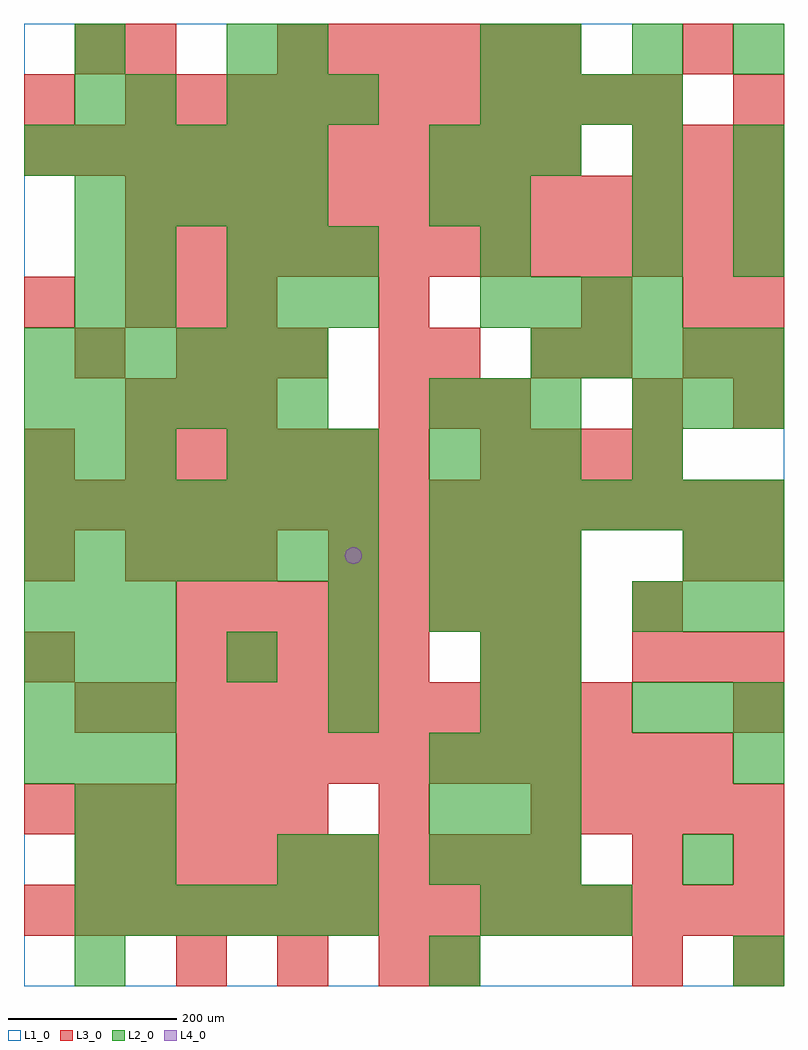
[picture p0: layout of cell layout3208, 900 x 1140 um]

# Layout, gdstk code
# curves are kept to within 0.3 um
import gdstk
lib = gdstk.Library(unit=1e-6, precision=1e-09)
def R(c, l, rs):  # rectangles x0, y0, x1, y1
    for r in rs: c.add(gdstk.rectangle(r[:2], r[2:], *l))
def A(c, l, x, y, w, h, nx, ny, dx, dy):  # array of equal rectangles
    R(c, l, [(x+i*dx, y+j*dy, x+i*dx+w, y+j*dy+h) for i in range(nx) for j in range(ny)])
def P(c, l, *ps):  # polygons
    for p in ps: c.add(gdstk.Polygon(p, *l))
L1_0 = (1, 0)
L2_0 = (2, 0)
L3_0 = (3, 0)
L4_0 = (4, 0)

layout3208 = lib.new_cell('layout3208')
R(layout3208, L1_0, [(0,0,900,1140)])
A(layout3208, L2_0, 840, 0, 60, 60, 1, 3, 0, 240)
A(layout3208, L2_0, 60, 60, 60, 60, 6, 1, 60, 0)
A(layout3208, L2_0, 540, 60, 60, 60, 3, 1, 60, 0)
A(layout3208, L2_0, 480, 120, 60, 60, 3, 3, 60, 60)
A(layout3208, L2_0, 0, 240, 60, 60, 3, 4, 60, 60)
A(layout3208, L2_0, 360, 300, 60, 60, 1, 3, 0, 60)
A(layout3208, L2_0, 720, 300, 60, 60, 3, 2, 60, 120)
A(layout3208, L2_0, 480, 420, 60, 60, 3, 2, 60, 60)
A(layout3208, L2_0, 0, 480, 60, 60, 7, 2, 60, 60)
A(layout3208, L2_0, 480, 540, 60, 60, 7, 1, 60, 0)
A(layout3208, L2_0, 0, 600, 60, 60, 3, 1, 60, 0)
A(layout3208, L2_0, 240, 600, 60, 60, 3, 2, 60, 180)
A(layout3208, L2_0, 480, 600, 60, 60, 3, 2, 60, 60)
A(layout3208, L2_0, 0, 660, 60, 60, 6, 2, 60, 60)
A(layout3208, L2_0, 720, 660, 60, 60, 3, 1, 60, 0)
A(layout3208, L2_0, 600, 720, 60, 60, 5, 1, 60, 0)
A(layout3208, L2_0, 540, 780, 60, 60, 4, 2, 60, 240)
A(layout3208, L2_0, 240, 840, 60, 60, 3, 2, 60, 180)
A(layout3208, L2_0, 720, 840, 60, 60, 1, 3, 0, 60)
A(layout3208, L2_0, 840, 840, 60, 60, 1, 3, 0, 60)
A(layout3208, L2_0, 60, 900, 60, 60, 5, 1, 60, 0)
A(layout3208, L2_0, 0, 960, 60, 60, 6, 1, 60, 0)
A(layout3208, L2_0, 480, 960, 60, 60, 3, 1, 60, 0)
A(layout3208, L2_0, 600, 1080, 60, 60, 3, 1, 120, 0)
R(layout3208, L2_0, [(60,0,120,60), (480,0,540,60), (60,120,120,180), (120,120,180,180), (300,120,360,180), (360,120,420,180), (780,120,840,180), (60,180,120,240), (120,180,180,240), (540,300,600,360), (600,300,660,360), (240,360,300,420), (540,360,600,420), (600,360,660,420), (780,480,840,540), (720,600,780,660), (60,780,120,840), (120,780,180,840), (60,840,120,900), (120,840,180,900), (540,840,600,900), (480,900,540,960), (540,900,600,960), (60,1020,120,1080), (120,1020,180,1080), (60,1080,120,1140), (240,1080,300,1140), (300,1080,360,1140), (540,1080,600,1140)])
A(layout3208, L3_0, 180, 0, 60, 60, 3, 1, 120, 0)
A(layout3208, L3_0, 0, 60, 60, 60, 15, 2, 60, 480)
A(layout3208, L3_0, 60, 120, 60, 60, 10, 1, 60, 0)
A(layout3208, L3_0, 840, 120, 60, 60, 1, 4, 0, 180)
A(layout3208, L3_0, 0, 180, 60, 60, 6, 1, 60, 0)
A(layout3208, L3_0, 600, 180, 60, 60, 5, 1, 60, 0)
A(layout3208, L3_0, 180, 240, 60, 60, 11, 1, 60, 0)
A(layout3208, L3_0, 60, 300, 60, 60, 11, 1, 60, 0)
A(layout3208, L3_0, 0, 360, 60, 60, 1, 3, 0, 120)
A(layout3208, L3_0, 180, 360, 60, 60, 5, 1, 60, 0)
A(layout3208, L3_0, 720, 360, 60, 60, 3, 2, 60, 600)
A(layout3208, L3_0, 180, 420, 60, 60, 8, 1, 60, 0)
A(layout3208, L3_0, 120, 480, 60, 60, 3, 2, 60, 180)
A(layout3208, L3_0, 360, 480, 60, 60, 5, 1, 60, 0)
A(layout3208, L3_0, 120, 600, 60, 60, 6, 1, 60, 0)
A(layout3208, L3_0, 540, 600, 60, 60, 4, 1, 60, 0)
A(layout3208, L3_0, 420, 660, 60, 60, 3, 1, 60, 0)
A(layout3208, L3_0, 180, 720, 60, 60, 3, 1, 60, 0)
A(layout3208, L3_0, 120, 780, 60, 60, 3, 1, 60, 0)
A(layout3208, L3_0, 120, 840, 60, 60, 13, 2, 60, 60)
A(layout3208, L3_0, 0, 960, 60, 60, 11, 1, 60, 0)
A(layout3208, L3_0, 120, 1020, 60, 60, 11, 1, 60, 0)
A(layout3208, L3_0, 300, 1080, 60, 60, 6, 1, 60, 0)
R(layout3208, L3_0, [(480,0,540,60), (720,0,780,60), (840,0,900,60), (720,120,780,180), (420,180,480,240), (540,360,600,420), (600,360,660,420), (720,420,780,480), (780,480,840,540), (720,660,780,720), (60,720,120,780), (420,720,480,780), (480,720,540,780), (600,720,660,780), (660,720,720,780), (780,720,840,780), (840,720,900,780), (0,780,60,840), (420,780,480,840), (660,780,720,840), (780,780,840,840), (840,780,900,840), (0,1020,60,1080), (840,1020,900,1080), (60,1080,120,1140), (120,1080,180,1140), (780,1080,840,1140)])
P(layout3208, L4_0, [(400,510),(399.239,513.827),(397.071,517.071),(393.827,519.239),(390,520),(386.173,519.239),(382.929,517.071),(380.761,513.827),(380,510),(380.761,506.173),(382.929,502.929),(386.173,500.761),(390,500),(393.827,500.761),(397.071,502.929),(399.239,506.173)])

lib.write_gds('layout3208.gds')
